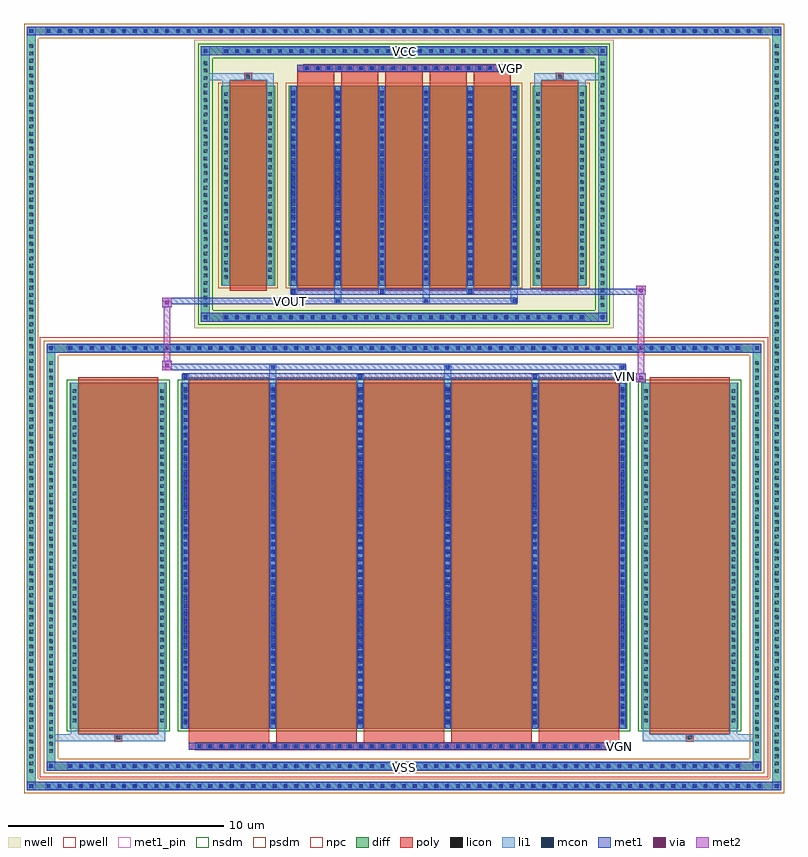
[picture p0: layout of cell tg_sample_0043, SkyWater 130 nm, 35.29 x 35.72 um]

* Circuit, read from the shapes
.subckt tg_sample_0043 VCC VGN VGP VIN VOUT VSS
XM1 VSS VSS VSS VSUBS sky130_fd_pr__nfet_01v8 w=16.07 l=3.73 m=2
XM2 VOUT VGN VIN VSUBS sky130_fd_pr__nfet_01v8 w=16.07 l=3.73 m=5
XM3 VCC VCC VCC n1 sky130_fd_pr__pfet_01v8 w=9.28 l=1.72 m=2
XM4 VOUT VGP VIN n1 sky130_fd_pr__pfet_01v8 w=9.28 l=1.72 m=5
.ends

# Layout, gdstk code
import gdstk
lib = gdstk.Library(unit=1e-6, precision=5e-09)
def R(c, l, rs):  # rectangles x0, y0, x1, y1
    for r in rs: c.add(gdstk.rectangle(r[:2], r[2:], *l))
def A(c, l, x, y, w, h, nx, ny, dx, dy):  # array of equal rectangles
    R(c, l, [(x+i*dx, y+j*dy, x+i*dx+w, y+j*dy+h) for i in range(nx) for j in range(ny)])
def P(c, l, *ps):  # polygons
    for p in ps: c.add(gdstk.Polygon(p, *l))
nwell = (64, 20)
pwell = (64, 44)
diff = (65, 20)
poly = (66, 20)
licon = (66, 44)
li1 = (67, 20)
mcon = (67, 44)
met1_pin = (68, 16)
met1 = (68, 20)
via = (68, 44)
met2 = (69, 20)
nsdm = (93, 44)
psdm = (94, 20)
npc = (95, 20)

tg_sample_0043 = lib.new_cell('tg_sample_0043')
R(tg_sample_0043, nwell, [(-9.74,10.62,9.74,24.02)])
R(tg_sample_0043, pwell, [(-16.905,-10.22,16.905,10.22)])
A(tg_sample_0043, diff, -16.705, -10.83, 0.41, 0.41, 67, 2, 0.5, 35.05)
A(tg_sample_0043, diff, -17.515, -10.135, 0.41, 0.41, 1, 100, 0, 0.34)
A(tg_sample_0043, diff, 17.105, -10.135, 0.41, 0.41, 1, 100, 0, 0.34)
A(tg_sample_0043, diff, -15.705, -9.91, 0.41, 0.41, 63, 2, 0.5, 19.41)
A(tg_sample_0043, diff, -16.595, -9.215, 0.41, 0.41, 1, 54, 0, 0.34)
A(tg_sample_0043, diff, 16.185, -9.215, 0.41, 0.41, 1, 54, 0, 0.34)
A(tg_sample_0043, diff, -8.455, 10.93, 0.41, 0.41, 34, 2, 0.5, 12.37)
A(tg_sample_0043, diff, -9.43, 11.505, 0.41, 0.41, 1, 34, 0, 0.34)
A(tg_sample_0043, diff, 9.02, 11.505, 0.41, 0.41, 1, 34, 0, 0.34)
R(tg_sample_0043, diff, [(-16.705,-10.83,16.705,-10.42), (-17.515,-10.135,-17.105,23.935), (17.105,-10.135,17.515,23.935), (-15.705,-9.91,15.705,-9.5), (-16.595,-9.215,-16.185,9.215), (16.185,-9.215,16.595,9.215), (-15.525,-7.965,-11.015,8.105), (-10.375,-7.965,10.375,8.105), (11.015,-7.965,15.525,8.105), (-15.705,9.5,15.705,9.91), (-8.455,10.93,8.455,11.34), (-9.43,11.505,-9.02,23.135), (9.02,11.505,9.43,23.135), (-8.49,12.61,-5.99,21.89), (-5.35,12.61,5.35,21.89), (5.99,12.61,8.49,21.89), (-8.455,23.3,8.455,23.71), (-16.705,24.22,16.705,24.63)])
P(tg_sample_0043, diff, [(16.595,9.91),(-16.595,9.91),(-16.595,-9.5),(-16.185,-9.5),(-16.185,9.5),(16.185,9.5),(16.185,-9.5),(-16.185,-9.5),(-16.595,-9.5),(-16.595,-9.91),(16.595,-9.91)],
  [(17.515,24.63),(-17.515,24.63),(-17.515,-10.42),(-17.105,-10.42),(-17.105,24.22),(17.105,24.22),(17.105,-10.42),(-17.105,-10.42),(-17.515,-10.42),(-17.515,-10.83),(17.515,-10.83)],
  [(9.43,10.93),(-9.43,10.93),(-9.43,23.3),(-9.02,23.3),(-9.02,11.34),(9.02,11.34),(9.02,23.3),(-9.02,23.3),(-9.43,23.3),(-9.43,23.71),(9.43,23.71)])
A(tg_sample_0043, poly, -9.665, -8.95, 0.33, 0.33, 39, 1, 0.5, 0)
A(tg_sample_0043, poly, -9.985, -8.62, 3.73, 0.405, 5, 1, 4.06, 0)
A(tg_sample_0043, poly, -9.985, -8.215, 3.73, 16.57, 5, 1, 4.06, 0)
A(tg_sample_0043, poly, -4.96, 12.36, 1.72, 9.78, 5, 1, 2.05, 0)
A(tg_sample_0043, poly, -4.96, 22.14, 1.72, 0.4, 5, 1, 2.05, 0)
A(tg_sample_0043, poly, -4.665, 22.54, 0.33, 0.33, 19, 1, 0.5, 0)
R(tg_sample_0043, poly, [(-9.985,-8.95,9.985,-8.62), (-13.435,-8.545,-13.105,-8.215), (-13.435,-8.545,-13.105,-8.215), (13.105,-8.545,13.435,-8.215), (13.105,-8.545,13.435,-8.215), (-15.135,-8.215,-11.405,8.355), (11.405,-8.215,15.135,8.355), (-8.1,12.36,-6.38,22.14), (6.38,12.36,8.1,22.14), (-7.405,22.14,-7.075,22.47), (-7.405,22.14,-7.075,22.47), (7.075,22.14,7.405,22.47), (7.075,22.14,7.405,22.47), (-4.96,22.54,4.96,22.87)])
A(tg_sample_0043, licon, -16.585, -10.71, 0.17, 0.17, 67, 2, 0.5, 35.05)
A(tg_sample_0043, licon, -17.395, -10.015, 0.17, 0.17, 1, 100, 0, 0.34)
A(tg_sample_0043, licon, 17.225, -10.015, 0.17, 0.17, 1, 100, 0, 0.34)
A(tg_sample_0043, licon, -15.585, -9.79, 0.17, 0.17, 63, 2, 0.5, 19.41)
A(tg_sample_0043, licon, -16.475, -9.095, 0.17, 0.17, 1, 54, 0, 0.34)
A(tg_sample_0043, licon, 16.305, -9.095, 0.17, 0.17, 1, 54, 0, 0.34)
A(tg_sample_0043, licon, -9.585, -8.87, 0.17, 0.17, 39, 1, 0.5, 0)
A(tg_sample_0043, licon, -15.385, -7.665, 0.17, 0.17, 1, 46, 0, 0.34)
A(tg_sample_0043, licon, -11.325, -7.665, 0.17, 0.17, 1, 46, 0, 0.34)
A(tg_sample_0043, licon, -10.235, -7.665, 0.17, 0.17, 6, 46, 4.06, 0.34)
A(tg_sample_0043, licon, 11.155, -7.665, 0.17, 0.17, 1, 46, 0, 0.34)
A(tg_sample_0043, licon, 15.215, -7.665, 0.17, 0.17, 1, 46, 0, 0.34)
A(tg_sample_0043, licon, -8.335, 11.05, 0.17, 0.17, 34, 2, 0.5, 12.37)
A(tg_sample_0043, licon, -9.31, 11.625, 0.17, 0.17, 1, 34, 0, 0.34)
A(tg_sample_0043, licon, 9.14, 11.625, 0.17, 0.17, 1, 34, 0, 0.34)
A(tg_sample_0043, licon, -8.35, 12.915, 0.17, 0.17, 1, 26, 0, 0.34)
A(tg_sample_0043, licon, -6.3, 12.915, 0.17, 0.17, 1, 26, 0, 0.34)
A(tg_sample_0043, licon, -5.21, 12.915, 0.17, 0.17, 6, 26, 2.05, 0.34)
A(tg_sample_0043, licon, 6.13, 12.915, 0.17, 0.17, 1, 26, 0, 0.34)
A(tg_sample_0043, licon, 8.18, 12.915, 0.17, 0.17, 1, 26, 0, 0.34)
A(tg_sample_0043, licon, -4.585, 22.62, 0.17, 0.17, 19, 1, 0.5, 0)
R(tg_sample_0043, licon, [(-13.355,-8.465,-13.185,-8.295), (13.185,-8.465,13.355,-8.295), (-7.325,22.22,-7.155,22.39), (7.155,22.22,7.325,22.39)])
A(tg_sample_0043, li1, -16.665, -10.79, 0.33, 0.33, 67, 2, 0.5, 35.05)
A(tg_sample_0043, li1, -17.475, -10.095, 0.33, 0.33, 1, 100, 0, 0.34)
A(tg_sample_0043, li1, 17.145, -10.095, 0.33, 0.33, 1, 100, 0, 0.34)
A(tg_sample_0043, li1, -15.665, -9.87, 0.33, 0.33, 63, 2, 0.5, 19.41)
A(tg_sample_0043, li1, -16.555, -9.175, 0.33, 0.33, 1, 54, 0, 0.34)
A(tg_sample_0043, li1, 16.225, -9.175, 0.33, 0.33, 1, 54, 0, 0.34)
A(tg_sample_0043, li1, -9.665, -8.95, 0.33, 0.33, 39, 1, 0.5, 0)
A(tg_sample_0043, li1, -10.315, -7.965, 0.33, 16.07, 6, 1, 4.06, 0)
A(tg_sample_0043, li1, -10.235, -7.755, 0.17, 0.17, 6, 44, 4.06, 0.36)
A(tg_sample_0043, li1, -10.235, -7.755, 0.17, 15.65, 6, 1, 4.06, 0)
A(tg_sample_0043, li1, -15.465, -7.745, 0.33, 0.33, 1, 46, 0, 0.34)
A(tg_sample_0043, li1, -11.405, -7.745, 0.33, 0.33, 1, 46, 0, 0.34)
A(tg_sample_0043, li1, -10.315, -7.745, 0.33, 0.33, 6, 46, 4.06, 0.34)
A(tg_sample_0043, li1, 11.075, -7.745, 0.33, 0.33, 1, 46, 0, 0.34)
A(tg_sample_0043, li1, 15.135, -7.745, 0.33, 0.33, 1, 46, 0, 0.34)
A(tg_sample_0043, li1, -10.315, 8.105, 0.33, 0.375, 3, 1, 8.12, 0)
A(tg_sample_0043, li1, -6.255, 8.105, 0.33, 0.805, 3, 1, 8.12, 0)
A(tg_sample_0043, li1, -10.235, 8.31, 0.17, 0.17, 3, 1, 8.12, 0)
A(tg_sample_0043, li1, -6.175, 8.74, 0.17, 0.17, 3, 1, 8.12, 0)
A(tg_sample_0043, li1, -8.415, 10.97, 0.33, 0.33, 34, 2, 0.5, 12.37)
A(tg_sample_0043, li1, -9.39, 11.545, 0.33, 0.33, 1, 34, 0, 0.34)
A(tg_sample_0043, li1, 9.06, 11.545, 0.33, 0.33, 1, 34, 0, 0.34)
A(tg_sample_0043, li1, -3.24, 11.805, 0.33, 0.805, 3, 1, 4.1, 0)
A(tg_sample_0043, li1, -3.16, 11.805, 0.17, 0.17, 3, 1, 4.1, 0)
A(tg_sample_0043, li1, -5.29, 12.235, 0.33, 0.375, 3, 1, 4.1, 0)
A(tg_sample_0043, li1, -5.21, 12.235, 0.17, 0.17, 3, 1, 4.1, 0)
A(tg_sample_0043, li1, -5.29, 12.61, 0.33, 9.28, 6, 1, 2.05, 0)
A(tg_sample_0043, li1, -8.43, 12.835, 0.33, 0.33, 1, 26, 0, 0.34)
A(tg_sample_0043, li1, -6.38, 12.835, 0.33, 0.33, 1, 26, 0, 0.34)
A(tg_sample_0043, li1, -5.29, 12.835, 0.33, 0.33, 6, 26, 2.05, 0.34)
A(tg_sample_0043, li1, 6.05, 12.835, 0.33, 0.33, 1, 26, 0, 0.34)
A(tg_sample_0043, li1, 8.1, 12.835, 0.33, 0.33, 1, 26, 0, 0.34)
A(tg_sample_0043, li1, -5.21, 12.845, 0.17, 0.17, 6, 25, 2.05, 0.36)
A(tg_sample_0043, li1, -5.21, 12.845, 0.17, 8.81, 6, 1, 2.05, 0)
A(tg_sample_0043, li1, -4.665, 22.54, 0.33, 0.33, 19, 1, 0.5, 0)
R(tg_sample_0043, li1, [(-17.515,-10.83,-17.105,-10.42), (17.105,-10.83,17.515,-10.42), (-16.665,-10.79,16.665,-10.46), (-17.395,-10.71,-17.225,-10.54), (-17.395,-10.71,-17.225,-10.54), (17.225,-10.71,17.395,-10.54), (17.225,-10.71,17.395,-10.54), (-17.515,-10.42,-17.105,24.22), (17.105,-10.42,17.515,24.22), (-16.595,-9.91,-16.185,-9.5), (16.185,-9.91,16.595,-9.5), (-15.665,-9.87,15.665,-9.54), (-16.475,-9.79,-16.305,-9.62), (-16.475,-9.79,-16.305,-9.62), (16.305,-9.79,16.475,-9.62), (16.305,-9.79,16.475,-9.62), (-16.595,-9.5,-16.185,9.5), (16.185,-9.5,16.595,9.5), (-16.595,-8.545,-13.435,-8.215), (-15.465,-8.545,-13.435,-8.215), (-15.465,-8.545,-15.135,-7.965), (-13.435,-8.545,-13.105,-8.215), (-13.105,-8.545,-11.075,-8.215), (-11.405,-8.545,-11.075,-7.965), (11.075,-8.545,13.105,-8.215), (11.075,-8.545,11.405,-7.965), (13.105,-8.545,13.435,-8.215), (13.105,-8.545,16.595,-8.215), (13.435,-8.545,15.465,-8.215), (15.135,-8.545,15.465,-7.965), (-15.465,-7.965,-15.135,8.105), (-11.405,-7.965,-11.075,8.105), (11.075,-7.965,11.405,8.105), (15.135,-7.965,15.465,8.105), (-16.595,9.5,-16.185,9.91), (16.185,9.5,16.595,9.91), (-15.665,9.54,15.665,9.87), (-16.475,9.62,-16.305,9.79), (-16.475,9.62,-16.305,9.79), (16.305,9.62,16.475,9.79), (16.305,9.62,16.475,9.79), (-9.43,10.93,-9.02,11.34), (9.02,10.93,9.43,11.34), (-8.415,10.97,8.415,11.3), (-9.31,11.05,-9.14,11.22), (-9.31,11.05,-9.14,11.22), (9.14,11.05,9.31,11.22), (9.14,11.05,9.31,11.22), (-9.43,11.34,-9.02,23.3), (9.02,11.34,9.43,23.3), (-8.43,12.61,-8.1,21.89), (-6.38,12.61,-6.05,21.89), (6.05,12.61,6.38,21.89), (8.1,12.61,8.43,21.89), (-8.43,21.89,-8.1,22.47), (-6.38,21.89,-6.05,22.47), (6.05,21.89,6.38,22.47), (8.1,21.89,8.43,22.47), (-9.43,22.14,-7.405,22.47), (-8.43,22.14,-7.405,22.47), (-7.405,22.14,-7.075,22.47), (-7.075,22.14,-6.05,22.47), (6.05,22.14,7.075,22.47), (7.075,22.14,7.405,22.47), (7.075,22.14,9.43,22.47), (7.405,22.14,8.43,22.47), (-9.43,23.3,-9.02,23.71), (9.02,23.3,9.43,23.71), (-8.415,23.34,8.415,23.67), (-9.31,23.42,-9.14,23.59), (-9.31,23.42,-9.14,23.59), (9.14,23.42,9.31,23.59), (9.14,23.42,9.31,23.59), (-17.515,24.22,-17.105,24.63), (17.105,24.22,17.515,24.63), (-16.665,24.26,16.665,24.59), (-17.395,24.34,-17.225,24.51), (-17.395,24.34,-17.225,24.51), (17.225,24.34,17.395,24.51), (17.225,24.34,17.395,24.51)])
A(tg_sample_0043, mcon, -16.585, -10.71, 0.17, 0.17, 67, 2, 0.5, 35.05)
A(tg_sample_0043, mcon, -15.585, -9.79, 0.17, 0.17, 63, 2, 0.5, 19.41)
A(tg_sample_0043, mcon, -9.585, -8.87, 0.17, 0.17, 39, 1, 0.5, 0)
A(tg_sample_0043, mcon, -10.235, -7.755, 0.17, 0.17, 6, 44, 4.06, 0.36)
A(tg_sample_0043, mcon, -10.235, 8.31, 0.17, 0.17, 3, 1, 8.12, 0)
A(tg_sample_0043, mcon, -6.175, 8.74, 0.17, 0.17, 3, 1, 8.12, 0)
A(tg_sample_0043, mcon, -8.335, 11.05, 0.17, 0.17, 34, 2, 0.5, 12.37)
A(tg_sample_0043, mcon, -3.16, 11.805, 0.17, 0.17, 3, 1, 4.1, 0)
A(tg_sample_0043, mcon, -5.21, 12.235, 0.17, 0.17, 3, 1, 4.1, 0)
A(tg_sample_0043, mcon, -5.21, 12.845, 0.17, 0.17, 6, 25, 2.05, 0.36)
A(tg_sample_0043, mcon, -4.585, 22.62, 0.17, 0.17, 19, 1, 0.5, 0)
R(tg_sample_0043, mcon, [(-17.395,-10.71,-17.225,-10.54), (17.225,-10.71,17.395,-10.54), (-16.475,-9.79,-16.305,-9.62), (16.305,-9.79,16.475,-9.62), (-16.475,9.62,-16.305,9.79), (16.305,9.62,16.475,9.79), (-9.31,11.05,-9.14,11.22), (9.14,11.05,9.31,11.22), (-9.31,23.42,-9.14,23.59), (9.14,23.42,9.31,23.59), (-17.395,24.34,-17.225,24.51), (17.225,24.34,17.395,24.51)])
R(tg_sample_0043, met1_pin, [(-0.25,-10,0.25,-9.5), (9.85,-8.95,10.12,-8.68), (10.16,8.25,10.43,8.52), (-5.405,11.745,-5.135,12.015), (4.825,22.54,5.095,22.81), (-0.25,23.21,0.25,23.71)])
A(tg_sample_0043, met1, -16.645, -10.77, 0.29, 0.29, 67, 2, 0.5, 35.05)
A(tg_sample_0043, met1, -15.645, -9.85, 0.29, 0.29, 63, 2, 0.5, 19.41)
A(tg_sample_0043, met1, -9.645, -8.93, 0.29, 0.29, 39, 1, 0.5, 0)
A(tg_sample_0043, met1, -10.295, -7.965, 0.29, 16.07, 6, 1, 4.06, 0)
A(tg_sample_0043, met1, -10.295, -7.815, 0.29, 0.29, 6, 44, 4.06, 0.36)
A(tg_sample_0043, met1, -10.295, 8.25, 0.29, 0.29, 3, 1, 8.12, 0)
A(tg_sample_0043, met1, -6.235, 8.68, 0.29, 0.29, 3, 1, 8.12, 0)
A(tg_sample_0043, met1, -8.395, 10.99, 0.29, 0.29, 34, 2, 0.5, 12.37)
A(tg_sample_0043, met1, -3.22, 11.745, 0.29, 0.29, 3, 1, 4.1, 0)
A(tg_sample_0043, met1, -5.27, 12.175, 0.29, 0.29, 3, 1, 4.1, 0)
A(tg_sample_0043, met1, -5.27, 12.61, 0.29, 9.28, 6, 1, 2.05, 0)
A(tg_sample_0043, met1, -5.27, 12.785, 0.29, 0.29, 6, 25, 2.05, 0.36)
A(tg_sample_0043, met1, -4.645, 22.56, 0.29, 0.29, 19, 1, 0.5, 0)
R(tg_sample_0043, met1, [(-17.515,-10.83,-17.105,-10.42), (-17.515,-10.83,-17.105,-10.42), (-17.105,-10.83,17.105,-10.42), (17.105,-10.83,17.515,-10.42), (17.105,-10.83,17.515,-10.42), (-17.455,-10.77,-17.165,-10.48), (17.165,-10.77,17.455,-10.48), (-16.595,-9.91,-16.185,-9.5), (-16.595,-9.91,-16.185,-9.5), (-16.185,-9.91,16.185,-9.5), (16.185,-9.91,16.595,-9.5), (16.185,-9.91,16.595,-9.5), (-16.535,-9.85,-16.245,-9.56), (16.245,-9.85,16.535,-9.56), (-9.985,-8.95,9.985,-8.62), (10.795,8.11,11.225,8.54), (-10.295,8.25,10.295,8.54), (10.295,8.25,11.225,8.54), (-11.225,8.68,-10.295,8.97), (-11.225,8.68,-10.795,9.11), (-10.295,8.68,10.295,8.97), (-16.595,9.5,-16.185,9.91), (-16.595,9.5,-16.185,9.91), (-16.185,9.5,16.185,9.91), (16.185,9.5,16.595,9.91), (16.185,9.5,16.595,9.91), (-16.535,9.56,-16.245,9.85), (16.245,9.56,16.535,9.85), (-9.43,10.93,-9.02,11.34), (-9.43,10.93,-9.02,11.34), (-9.02,10.93,9.02,11.34), (9.02,10.93,9.43,11.34), (9.02,10.93,9.43,11.34), (-9.37,10.99,-9.08,11.28), (9.08,10.99,9.37,11.28), (-11.225,11.605,-10.795,12.035), (-11.225,11.745,-5.27,12.035), (-5.27,11.745,5.27,12.035), (-5.27,12.175,5.27,12.465), (5.27,12.175,11.225,12.465), (10.795,12.175,11.225,12.605), (-4.96,22.54,4.96,22.87), (-9.43,23.3,-9.02,23.71), (-9.43,23.3,-9.02,23.71), (-9.02,23.3,9.02,23.71), (9.02,23.3,9.43,23.71), (9.02,23.3,9.43,23.71), (-9.37,23.36,-9.08,23.65), (9.08,23.36,9.37,23.65), (-17.515,24.22,-17.105,24.63), (-17.515,24.22,-17.105,24.63), (-17.105,24.22,17.105,24.63), (17.105,24.22,17.515,24.63), (17.105,24.22,17.515,24.63), (-17.455,24.28,-17.165,24.57), (17.165,24.28,17.455,24.57)])
R(tg_sample_0043, via, [(10.935,8.25,11.085,8.4), (-11.085,8.82,-10.935,8.97), (-11.085,11.745,-10.935,11.895), (10.935,12.315,11.085,12.465)])
R(tg_sample_0043, met2, [(10.795,8.11,11.225,8.54), (10.865,8.11,11.155,12.605), (11.155,8.11,11.225,8.54), (10.845,8.16,11.175,8.49), (-11.225,8.68,-10.795,9.11), (-11.155,8.68,-10.865,12.035), (-10.865,8.68,-10.795,9.11), (-11.175,8.73,-10.845,9.06), (-11.225,11.605,-10.795,12.035), (-10.865,11.605,-10.795,12.035), (-11.175,11.655,-10.845,11.985), (10.795,12.175,11.225,12.605), (11.155,12.175,11.225,12.605), (10.845,12.225,11.175,12.555)])
R(tg_sample_0043, nsdm, [(-15.655,-8.095,-10.885,8.235), (-10.505,-8.095,10.505,8.235), (10.885,-8.095,15.655,8.235)])
P(tg_sample_0043, nsdm, [(9.56,10.8),(-9.56,10.8),(-9.56,23.17),(-8.89,23.17),(-8.89,11.47),(8.89,11.47),(8.89,23.17),(-8.89,23.17),(-9.56,23.17),(-9.56,23.84),(9.56,23.84)])
R(tg_sample_0043, psdm, [(-8.62,12.48,-5.86,22.02), (-5.48,12.48,5.48,22.02), (5.86,12.48,8.62,22.02)])
P(tg_sample_0043, psdm, [(16.725,10.04),(-16.725,10.04),(-16.725,-9.37),(-16.055,-9.37),(-16.055,9.37),(16.055,9.37),(16.055,-9.37),(-16.055,-9.37),(-16.725,-9.37),(-16.725,-10.04),(16.725,-10.04)],
  [(17.645,24.76),(-17.645,24.76),(-17.645,-10.29),(-16.975,-10.29),(-16.975,24.09),(16.975,24.09),(16.975,-10.29),(-16.975,-10.29),(-17.645,-10.29),(-17.645,-10.96),(17.645,-10.96)])
A(tg_sample_0043, npc, -9.685, -8.97, 0.37, 0.37, 39, 1, 0.5, 0)
A(tg_sample_0043, npc, -4.685, 22.52, 0.37, 0.37, 19, 1, 0.5, 0)
R(tg_sample_0043, npc, [(-9.685,-8.97,-8.815,-8.6), (-9.685,-8.97,-8.815,-8.6), (-9.185,-8.97,-8.315,-8.6), (-9.185,-8.97,-8.315,-8.6), (-8.685,-8.97,-7.815,-8.6), (-8.685,-8.97,-7.815,-8.6), (-8.185,-8.97,-7.315,-8.6), (-8.185,-8.97,-7.315,-8.6), (-7.685,-8.97,-6.815,-8.6), (-7.685,-8.97,-6.815,-8.6), (-7.185,-8.97,-6.315,-8.6), (-7.185,-8.97,-6.315,-8.6), (-6.685,-8.97,-5.815,-8.6), (-6.685,-8.97,-5.815,-8.6), (-6.185,-8.97,-5.315,-8.6), (-6.185,-8.97,-5.315,-8.6), (-5.685,-8.97,-4.815,-8.6), (-5.685,-8.97,-4.815,-8.6), (-5.185,-8.97,-4.315,-8.6), (-5.185,-8.97,-4.315,-8.6), (-4.685,-8.97,-3.815,-8.6), (-4.685,-8.97,-3.815,-8.6), (-4.185,-8.97,-3.315,-8.6), (-4.185,-8.97,-3.315,-8.6), (-3.685,-8.97,-2.815,-8.6), (-3.685,-8.97,-2.815,-8.6), (-3.185,-8.97,-2.315,-8.6), (-3.185,-8.97,-2.315,-8.6), (-2.685,-8.97,-1.815,-8.6), (-2.685,-8.97,-1.815,-8.6), (-2.185,-8.97,-1.315,-8.6), (-2.185,-8.97,-1.315,-8.6), (-1.685,-8.97,-0.815,-8.6), (-1.685,-8.97,-0.815,-8.6), (-1.185,-8.97,-0.315,-8.6), (-1.185,-8.97,-0.315,-8.6), (-0.685,-8.97,0.185,-8.6), (-0.685,-8.97,0.185,-8.6), (-0.185,-8.97,0.685,-8.6), (-0.185,-8.97,0.685,-8.6), (0.315,-8.97,1.185,-8.6), (0.315,-8.97,1.185,-8.6), (0.815,-8.97,1.685,-8.6), (0.815,-8.97,1.685,-8.6), (1.315,-8.97,2.185,-8.6), (1.315,-8.97,2.185,-8.6), (1.815,-8.97,2.685,-8.6), (1.815,-8.97,2.685,-8.6), (2.315,-8.97,3.185,-8.6), (2.315,-8.97,3.185,-8.6), (2.815,-8.97,3.685,-8.6), (2.815,-8.97,3.685,-8.6), (3.315,-8.97,4.185,-8.6), (3.315,-8.97,4.185,-8.6), (3.815,-8.97,4.685,-8.6), (3.815,-8.97,4.685,-8.6), (4.315,-8.97,5.185,-8.6), (4.315,-8.97,5.185,-8.6), (4.815,-8.97,5.685,-8.6), (4.815,-8.97,5.685,-8.6), (5.315,-8.97,6.185,-8.6), (5.315,-8.97,6.185,-8.6), (5.815,-8.97,6.685,-8.6), (5.815,-8.97,6.685,-8.6), (6.315,-8.97,7.185,-8.6), (6.315,-8.97,7.185,-8.6), (6.815,-8.97,7.685,-8.6), (6.815,-8.97,7.685,-8.6), (7.315,-8.97,8.185,-8.6), (7.315,-8.97,8.185,-8.6), (7.815,-8.97,8.685,-8.6), (7.815,-8.97,8.685,-8.6), (8.315,-8.97,9.185,-8.6), (8.315,-8.97,9.185,-8.6), (8.815,-8.97,9.685,-8.6), (8.815,-8.97,9.685,-8.6), (-13.455,-8.565,-13.085,-8.195), (13.085,-8.565,13.455,-8.195), (-7.425,22.12,-7.055,22.49), (7.055,22.12,7.425,22.49), (-4.685,22.52,-3.815,22.89), (-4.685,22.52,-3.815,22.89), (-4.185,22.52,-3.315,22.89), (-4.185,22.52,-3.315,22.89), (-3.685,22.52,-2.815,22.89), (-3.685,22.52,-2.815,22.89), (-3.185,22.52,-2.315,22.89), (-3.185,22.52,-2.315,22.89), (-2.685,22.52,-1.815,22.89), (-2.685,22.52,-1.815,22.89), (-2.185,22.52,-1.315,22.89), (-2.185,22.52,-1.315,22.89), (-1.685,22.52,-0.815,22.89), (-1.685,22.52,-0.815,22.89), (-1.185,22.52,-0.315,22.89), (-1.185,22.52,-0.315,22.89), (-0.685,22.52,0.185,22.89), (-0.685,22.52,0.185,22.89), (-0.185,22.52,0.685,22.89), (-0.185,22.52,0.685,22.89), (0.315,22.52,1.185,22.89), (0.315,22.52,1.185,22.89), (0.815,22.52,1.685,22.89), (0.815,22.52,1.685,22.89), (1.315,22.52,2.185,22.89), (1.315,22.52,2.185,22.89), (1.815,22.52,2.685,22.89), (1.815,22.52,2.685,22.89), (2.315,22.52,3.185,22.89), (2.315,22.52,3.185,22.89), (2.815,22.52,3.685,22.89), (2.815,22.52,3.685,22.89), (3.315,22.52,4.185,22.89), (3.315,22.52,4.185,22.89), (3.815,22.52,4.685,22.89), (3.815,22.52,4.685,22.89)])
tg_sample_0043.add(gdstk.Label('VIN', (10.295,8.385), layer=68, texttype=5))
tg_sample_0043.add(gdstk.Label('VGN', (9.985,-8.815), layer=68, texttype=5))
tg_sample_0043.add(gdstk.Label('VGP', (4.96,22.675), layer=68, texttype=5))
tg_sample_0043.add(gdstk.Label('VSS', (0,-9.75), layer=68, texttype=5))
tg_sample_0043.add(gdstk.Label('VCC', (0,23.46), layer=68, texttype=5))
tg_sample_0043.add(gdstk.Label('VOUT', (-5.27,11.88), layer=68, texttype=5))

lib.write_gds('tg_sample_0043.gds')
